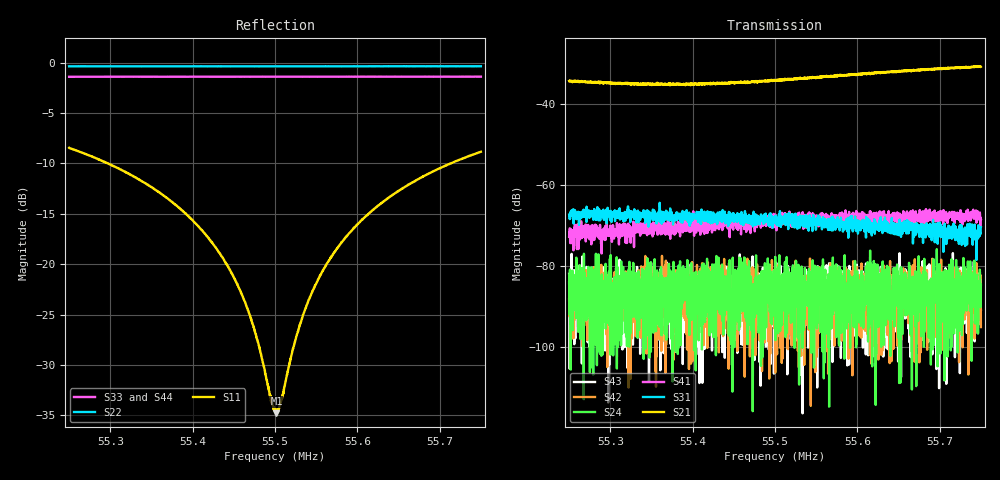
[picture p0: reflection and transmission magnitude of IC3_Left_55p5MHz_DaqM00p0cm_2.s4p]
#  HZ  S  DB  R  50.00
! Rohde & Schwarz Vector Network Analyzer
! Rohde-Schwarz,ZNB8-4Port,1311601044102961,2.82
! Created: UTC 2/12/2019, 4:53:33 PM
! freq[Hz]  db:S11  ang:S11  db:S12  ang:S12  db:S13  ang:S13  db:S14  ang:S14
!  db:S21  ang:S21  db:S22  ang:S22  db:S23  ang:S23  db:S24  ang:S24
!  db:S31  ang:S31  db:S32  ang:S32  db:S33  ang:S33  db:S34  ang:S34
!  db:S41  ang:S41  db:S42  ang:S42  db:S43  ang:S43  db:S44  ang:S44
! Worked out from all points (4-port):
!   2001 points, 55.25 MHz to 55.75 MHz, reference 50 ohm
!   strongest paths, dB at 55.25 MHz, 55.375 MHz, 55.5 MHz, 55.625 MHz, 55.75 MHz:
!     S21: -34.4, -35.3, -34.1, -32.2, -30.9
!     S31: -67.3, -67.3, -68.2, -70.8, -70.4
!     S41: -72.8, -69.1, -68.2, -67.7, -68.5
!     S24: -84.1, -84.8, -86.4, -86.9, -84.6
!     S42: -88.2, -98.2, -88.8, -96.6, -95.1
!     S43: -81.9, -89.9, -81.2, -83.8, -90.8
!   lowest |S11| = -34.8 dB at 55.5018 MHz (marker M1), VSWR 1.04, Z = 51 + j1.54 ohm
!   |S11| at or under -10 dB: 55.2972 MHz to 55.7131 MHz (415.9 kHz wide, 0.749 % of centre)
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5.525e7  -8.45 -174.4  -34.49 85.3  -65.73 -176.4  -76.09 -33.4
         -34.36 84.6  -0.36 94.4  -88.49 163.9  -84.06 85.1
         -67.34 -171.5  -98.06 39.6  -1.39 35.4  -81.24 -58.9
         -72.78 -52.8  -88.17 -38.2  -81.92 51.4  -1.38 29.0
5.54215e7  -17.64 152.0  -35.13 98.2  -67.71 164.0  -69.64 -45.5
           -34.80 99.4  -0.36 91.3  -84.13 111.7  -96.01 6.8
           -67.35 161.4  -91.38 -54.1  -1.39 33.4  -87.68 76.1
           -69.86 -56.9  -95.87 -92.3  -91.16 37.8  -1.37 26.9
5.546525e7  -24.11 135.4  -34.70 102.4  -69.08 158.6  -68.86 -63.6
            -34.66 103.3  -0.35 90.5  -91.99 -9.4  -81.32 -4.4
            -68.93 164.9  -85.49 -150.9  -1.39 32.9  -80.11 -130.1
            -69.08 -67.5  -91.57 148.8  -88.00 -52.9  -1.37 26.4
5.550175e7  -34.80 56.2  -34.05 105.5  -68.08 150.9  -68.98 -70.0
            -34.24 105.4  -0.36 89.8  -90.99 -53.3  -80.76 122.6
            -68.10 144.1  -86.73 63.9  -1.39 32.4  -84.62 125.3
            -71.22 -68.0  -85.20 149.1  -89.15 -164.8  -1.38 25.9
5.553925e7  -23.92 -23.3  -33.59 107.4  -69.51 151.1  -68.14 -71.8
            -33.57 106.9  -0.35 89.2  -99.54 37.4  -89.44 -69.0
            -67.80 144.0  -95.28 -57.9  -1.38 32.0  -80.20 -62.9
            -68.73 -74.3  -91.67 -26.3  -87.73 174.9  -1.37 25.5
5.558325e7  -17.61 -39.8  -32.98 108.7  -69.89 155.3  -67.00 -87.7
            -32.93 108.1  -0.36 88.4  -80.12 71.4  -82.57 8.6
            -69.94 136.6  -85.55 151.6  -1.38 31.5  -87.33 27.0
            -67.96 -66.3  -83.87 -2.5  -85.05 -130.8  -1.38 24.9
5.575e7  -8.84 -71.9  -30.82 103.0  -73.09 137.3  -67.72 -100.5
         -30.86 102.4  -0.35 85.3  -85.62 -18.5  -84.64 -5.9
         -70.44 116.8  -89.06 140.3  -1.38 29.5  -83.32 -3.6
         -68.45 -103.0  -95.09 167.1  -90.76 40.6  -1.37 22.9
